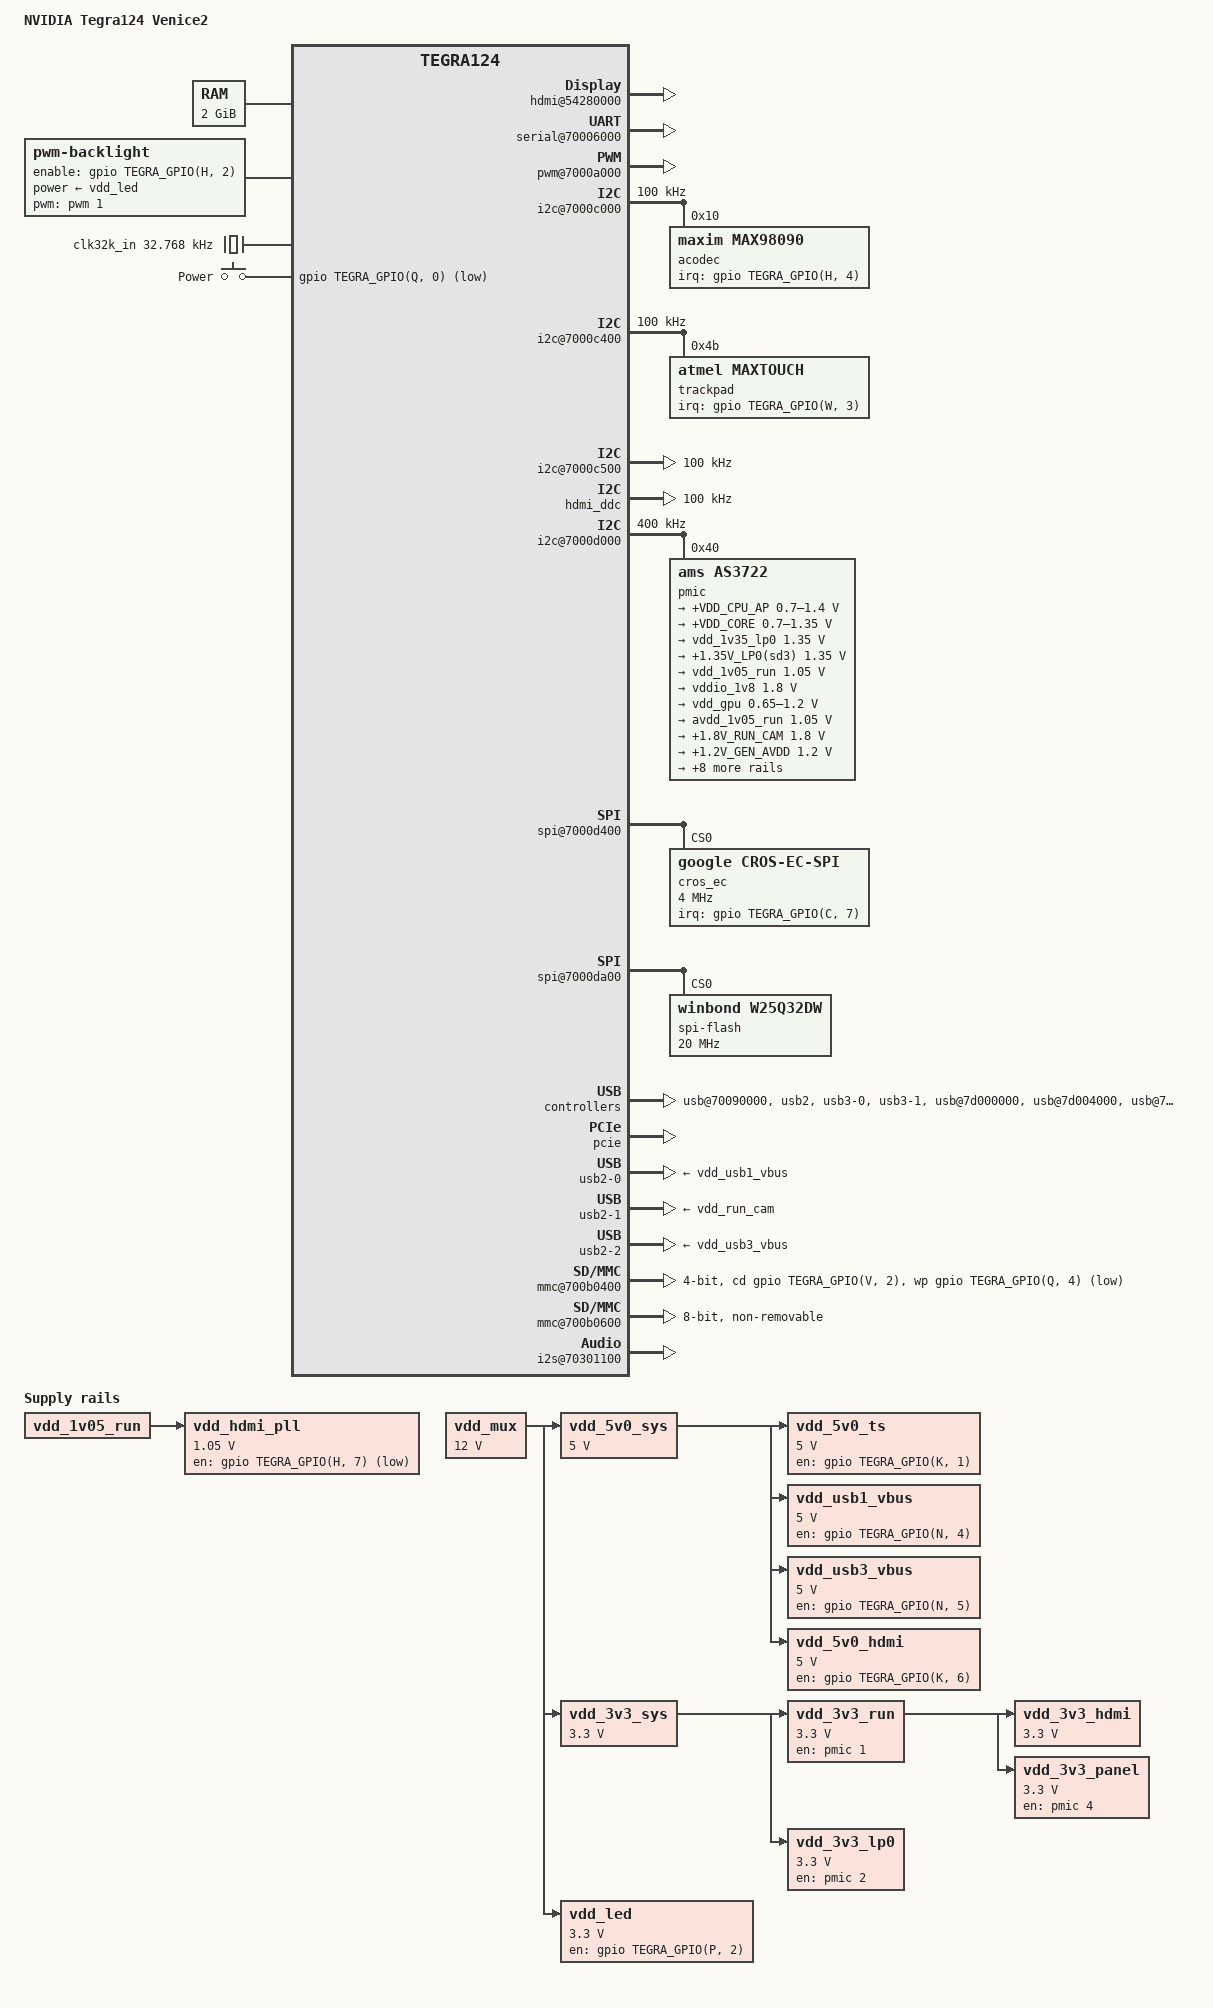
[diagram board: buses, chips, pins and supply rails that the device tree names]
// SPDX-License-Identifier: GPL-2.0
/dts-v1/;

#include <dt-bindings/input/input.h>
#include "tegra124.dtsi"

/ {
	model = "NVIDIA Tegra124 Venice2";
	compatible = "nvidia,venice2", "nvidia,tegra124";

	aliases {
		rtc0 = "/i2c@7000d000/pmic@40";
		rtc1 = "/rtc@7000e000";
		serial0 = &uarta;
	};

	chosen {
		stdout-path = "serial0:115200n8";
	};

	memory@80000000 {
		reg = <0x0 0x80000000 0x0 0x80000000>;
	};

	host1x@50000000 {
		hdmi@54280000 {
			status = "okay";

			vdd-supply = <&vdd_3v3_hdmi>;
			pll-supply = <&vdd_hdmi_pll>;
			hdmi-supply = <&vdd_5v0_hdmi>;

			nvidia,ddc-i2c-bus = <&hdmi_ddc>;
			nvidia,hpd-gpio =
				<&gpio TEGRA_GPIO(N, 7) GPIO_ACTIVE_HIGH>;
		};

		sor@54540000 {
			status = "okay";

			avdd-io-hdmi-dp-supply = <&vdd_1v05_run>;
			vdd-hdmi-dp-pll-supply = <&vdd_3v3_run>;

			nvidia,dpaux = <&dpaux>;
			nvidia,panel = <&panel>;
		};

		dpaux@545c0000 {
			vdd-supply = <&vdd_3v3_panel>;
			status = "okay";

			aux-bus {
				panel: panel {
					compatible = "lg,lp129qe";
					backlight = <&backlight>;
				};
			};
		};
	};

	gpu@0,57000000 {
		/*
		 * Node left disabled on purpose - the bootloader will enable
		 * it after having set the VPR up
		 */
		vdd-supply = <&vdd_gpu>;
	};

	pinmux: pinmux@70000868 {
		pinctrl-names = "boot";
		pinctrl-0 = <&pinmux_boot>;

		pinmux_boot: common {
			dap_mclk1_pw4 {
				nvidia,pins = "dap_mclk1_pw4";
				nvidia,function = "extperiph1";
				nvidia,enable-input = <TEGRA_PIN_DISABLE>;
				nvidia,pull = <TEGRA_PIN_PULL_NONE>;
				nvidia,tristate = <TEGRA_PIN_DISABLE>;
			};
			dap1_din_pn1 {
				nvidia,pins = "dap1_din_pn1";
				nvidia,function = "i2s0";
				nvidia,enable-input = <TEGRA_PIN_ENABLE>;
				nvidia,pull = <TEGRA_PIN_PULL_NONE>;
				nvidia,tristate = <TEGRA_PIN_ENABLE>;
			};
			dap1_dout_pn2 {
				nvidia,pins = "dap1_dout_pn2",
					      "dap1_fs_pn0",
					      "dap1_sclk_pn3";
				nvidia,function = "i2s0";
				nvidia,enable-input = <TEGRA_PIN_DISABLE>;
				nvidia,pull = <TEGRA_PIN_PULL_NONE>;
				nvidia,tristate = <TEGRA_PIN_ENABLE>;
			};
			dap2_din_pa4 {
				nvidia,pins = "dap2_din_pa4";
				nvidia,function = "i2s1";
				nvidia,enable-input = <TEGRA_PIN_ENABLE>;
				nvidia,pull = <TEGRA_PIN_PULL_NONE>;
				nvidia,tristate = <TEGRA_PIN_DISABLE>;
			};
			dap2_dout_pa5 {
				nvidia,pins = "dap2_dout_pa5",
					      "dap2_fs_pa2",
					      "dap2_sclk_pa3";
				nvidia,function = "i2s1";
				nvidia,enable-input = <TEGRA_PIN_DISABLE>;
				nvidia,pull = <TEGRA_PIN_PULL_NONE>;
				nvidia,tristate = <TEGRA_PIN_DISABLE>;
			};
			dvfs_pwm_px0 {
				nvidia,pins = "dvfs_pwm_px0",
					      "dvfs_clk_px2";
				nvidia,function = "cldvfs";
				nvidia,enable-input = <TEGRA_PIN_DISABLE>;
				nvidia,pull = <TEGRA_PIN_PULL_NONE>;
				nvidia,tristate = <TEGRA_PIN_DISABLE>;
			};
			ulpi_clk_py0 {
				nvidia,pins = "ulpi_clk_py0",
					      "ulpi_nxt_py2",
					      "ulpi_stp_py3";
				nvidia,function = "spi1";
				nvidia,enable-input = <TEGRA_PIN_DISABLE>;
				nvidia,pull = <TEGRA_PIN_PULL_NONE>;
				nvidia,tristate = <TEGRA_PIN_DISABLE>;
			};
			ulpi_dir_py1 {
				nvidia,pins = "ulpi_dir_py1";
				nvidia,function = "spi1";
				nvidia,enable-input = <TEGRA_PIN_ENABLE>;
				nvidia,pull = <TEGRA_PIN_PULL_NONE>;
				nvidia,tristate = <TEGRA_PIN_DISABLE>;
			};
			cam_i2c_scl_pbb1 {
				nvidia,pins = "cam_i2c_scl_pbb1",
					      "cam_i2c_sda_pbb2";
				nvidia,function = "i2c3";
				nvidia,enable-input = <TEGRA_PIN_ENABLE>;
				nvidia,pull = <TEGRA_PIN_PULL_NONE>;
				nvidia,tristate = <TEGRA_PIN_DISABLE>;
				nvidia,lock = <TEGRA_PIN_DISABLE>;
				nvidia,open-drain = <TEGRA_PIN_ENABLE>;
			};
			gen2_i2c_scl_pt5 {
				nvidia,pins = "gen2_i2c_scl_pt5",
					      "gen2_i2c_sda_pt6";
				nvidia,function = "i2c2";
				nvidia,enable-input = <TEGRA_PIN_ENABLE>;
				nvidia,pull = <TEGRA_PIN_PULL_NONE>;
				nvidia,tristate = <TEGRA_PIN_DISABLE>;
				nvidia,lock = <TEGRA_PIN_DISABLE>;
				nvidia,open-drain = <TEGRA_PIN_ENABLE>;
			};
			pg4 {
				nvidia,pins = "pg4",
					      "pg5",
					      "pg6",
					      "pi3";
				nvidia,function = "spi4";
				nvidia,enable-input = <TEGRA_PIN_DISABLE>;
				nvidia,pull = <TEGRA_PIN_PULL_NONE>;
				nvidia,tristate = <TEGRA_PIN_DISABLE>;
			};
			pg7 {
				nvidia,pins = "pg7";
				nvidia,function = "spi4";
				nvidia,enable-input = <TEGRA_PIN_ENABLE>;
				nvidia,pull = <TEGRA_PIN_PULL_NONE>;
				nvidia,tristate = <TEGRA_PIN_DISABLE>;
			};
			ph1 {
				nvidia,pins = "ph1";
				nvidia,function = "pwm1";
				nvidia,enable-input = <TEGRA_PIN_DISABLE>;
				nvidia,pull = <TEGRA_PIN_PULL_NONE>;
				nvidia,tristate = <TEGRA_PIN_DISABLE>;
			};
			pk0 {
				nvidia,pins = "pk0",
					      "kb_row15_ps7",
					      "clk_32k_out_pa0";
				nvidia,function = "soc";
				nvidia,pull = <TEGRA_PIN_PULL_UP>;
				nvidia,tristate = <TEGRA_PIN_DISABLE>;
				nvidia,enable-input = <TEGRA_PIN_ENABLE>;
			};
			sdmmc1_clk_pz0 {
				nvidia,pins = "sdmmc1_clk_pz0";
				nvidia,function = "sdmmc1";
				nvidia,enable-input = <TEGRA_PIN_DISABLE>;
				nvidia,pull = <TEGRA_PIN_PULL_NONE>;
				nvidia,tristate = <TEGRA_PIN_DISABLE>;
			};
			sdmmc1_cmd_pz1 {
				nvidia,pins = "sdmmc1_cmd_pz1",
					      "sdmmc1_dat0_py7",
					      "sdmmc1_dat1_py6",
					      "sdmmc1_dat2_py5",
					      "sdmmc1_dat3_py4";
				nvidia,function = "sdmmc1";
				nvidia,enable-input = <TEGRA_PIN_ENABLE>;
				nvidia,pull = <TEGRA_PIN_PULL_UP>;
				nvidia,tristate = <TEGRA_PIN_DISABLE>;
			};
			sdmmc3_clk_pa6 {
				nvidia,pins = "sdmmc3_clk_pa6";
				nvidia,function = "sdmmc3";
				nvidia,enable-input = <TEGRA_PIN_ENABLE>;
				nvidia,pull = <TEGRA_PIN_PULL_NONE>;
				nvidia,tristate = <TEGRA_PIN_DISABLE>;
			};
			sdmmc3_cmd_pa7 {
				nvidia,pins = "sdmmc3_cmd_pa7",
					      "sdmmc3_dat0_pb7",
					      "sdmmc3_dat1_pb6",
					      "sdmmc3_dat2_pb5",
					      "sdmmc3_dat3_pb4",
					      "sdmmc3_clk_lb_out_pee4",
					      "sdmmc3_clk_lb_in_pee5";
				nvidia,function = "sdmmc3";
				nvidia,enable-input = <TEGRA_PIN_ENABLE>;
				nvidia,pull = <TEGRA_PIN_PULL_UP>;
				nvidia,tristate = <TEGRA_PIN_DISABLE>;
			};
			sdmmc4_clk_pcc4 {
				nvidia,pins = "sdmmc4_clk_pcc4";
				nvidia,function = "sdmmc4";
				nvidia,enable-input = <TEGRA_PIN_ENABLE>;
				nvidia,pull = <TEGRA_PIN_PULL_NONE>;
				nvidia,tristate = <TEGRA_PIN_DISABLE>;
			};
			sdmmc4_cmd_pt7 {
				nvidia,pins = "sdmmc4_cmd_pt7",
					      "sdmmc4_dat0_paa0",
					      "sdmmc4_dat1_paa1",
					      "sdmmc4_dat2_paa2",
					      "sdmmc4_dat3_paa3",
					      "sdmmc4_dat4_paa4",
					      "sdmmc4_dat5_paa5",
					      "sdmmc4_dat6_paa6",
					      "sdmmc4_dat7_paa7";
				nvidia,function = "sdmmc4";
				nvidia,enable-input = <TEGRA_PIN_ENABLE>;
				nvidia,pull = <TEGRA_PIN_PULL_UP>;
				nvidia,tristate = <TEGRA_PIN_DISABLE>;
			};
			pwr_i2c_scl_pz6 {
				nvidia,pins = "pwr_i2c_scl_pz6",
					      "pwr_i2c_sda_pz7";
				nvidia,function = "i2cpwr";
				nvidia,enable-input = <TEGRA_PIN_ENABLE>;
				nvidia,pull = <TEGRA_PIN_PULL_NONE>;
				nvidia,tristate = <TEGRA_PIN_DISABLE>;
				nvidia,lock = <TEGRA_PIN_DISABLE>;
				nvidia,open-drain = <TEGRA_PIN_ENABLE>;
			};
			jtag_rtck {
				nvidia,pins = "jtag_rtck";
				nvidia,function = "rtck";
				nvidia,enable-input = <TEGRA_PIN_DISABLE>;
				nvidia,pull = <TEGRA_PIN_PULL_UP>;
				nvidia,tristate = <TEGRA_PIN_DISABLE>;
			};
			clk_32k_in {
				nvidia,pins = "clk_32k_in";
				nvidia,function = "clk";
				nvidia,enable-input = <TEGRA_PIN_ENABLE>;
				nvidia,pull = <TEGRA_PIN_PULL_NONE>;
				nvidia,tristate = <TEGRA_PIN_DISABLE>;
			};
			core_pwr_req {
				nvidia,pins = "core_pwr_req";
				nvidia,function = "pwron";
				nvidia,enable-input = <TEGRA_PIN_DISABLE>;
				nvidia,pull = <TEGRA_PIN_PULL_NONE>;
				nvidia,tristate = <TEGRA_PIN_DISABLE>;
			};
			cpu_pwr_req {
				nvidia,pins = "cpu_pwr_req";
				nvidia,function = "cpu";
				nvidia,enable-input = <TEGRA_PIN_DISABLE>;
				nvidia,pull = <TEGRA_PIN_PULL_NONE>;
				nvidia,tristate = <TEGRA_PIN_DISABLE>;
			};
			pwr_int_n {
				nvidia,pins = "pwr_int_n";
				nvidia,function = "pmi";
				nvidia,enable-input = <TEGRA_PIN_ENABLE>;
				nvidia,pull = <TEGRA_PIN_PULL_UP>;
				nvidia,tristate = <TEGRA_PIN_DISABLE>;
			};
			reset_out_n {
				nvidia,pins = "reset_out_n";
				nvidia,function = "reset_out_n";
				nvidia,enable-input = <TEGRA_PIN_DISABLE>;
				nvidia,pull = <TEGRA_PIN_PULL_NONE>;
				nvidia,tristate = <TEGRA_PIN_DISABLE>;
			};
			clk3_out_pee0 {
				nvidia,pins = "clk3_out_pee0";
				nvidia,function = "extperiph3";
				nvidia,enable-input = <TEGRA_PIN_DISABLE>;
				nvidia,pull = <TEGRA_PIN_PULL_NONE>;
				nvidia,tristate = <TEGRA_PIN_DISABLE>;
			};
			dap4_din_pp5 {
				nvidia,pins = "dap4_din_pp5";
				nvidia,function = "i2s3";
				nvidia,enable-input = <TEGRA_PIN_ENABLE>;
				nvidia,pull = <TEGRA_PIN_PULL_NONE>;
				nvidia,tristate = <TEGRA_PIN_ENABLE>;
			};
			dap4_dout_pp6 {
				nvidia,pins = "dap4_dout_pp6",
					      "dap4_fs_pp4",
					      "dap4_sclk_pp7";
				nvidia,function = "i2s3";
				nvidia,enable-input = <TEGRA_PIN_DISABLE>;
				nvidia,pull = <TEGRA_PIN_PULL_NONE>;
				nvidia,tristate = <TEGRA_PIN_ENABLE>;
			};
			gen1_i2c_sda_pc5 {
				nvidia,pins = "gen1_i2c_sda_pc5",
					      "gen1_i2c_scl_pc4";
				nvidia,function = "i2c1";
				nvidia,enable-input = <TEGRA_PIN_ENABLE>;
				nvidia,pull = <TEGRA_PIN_PULL_NONE>;
				nvidia,tristate = <TEGRA_PIN_DISABLE>;
				nvidia,lock = <TEGRA_PIN_DISABLE>;
				nvidia,open-drain = <TEGRA_PIN_ENABLE>;
			};
			uart2_cts_n_pj5 {
				nvidia,pins = "uart2_cts_n_pj5";
				nvidia,function = "uartb";
				nvidia,enable-input = <TEGRA_PIN_ENABLE>;
				nvidia,pull = <TEGRA_PIN_PULL_NONE>;
				nvidia,tristate = <TEGRA_PIN_DISABLE>;
			};
			uart2_rts_n_pj6 {
				nvidia,pins = "uart2_rts_n_pj6";
				nvidia,function = "uartb";
				nvidia,enable-input = <TEGRA_PIN_DISABLE>;
				nvidia,pull = <TEGRA_PIN_PULL_NONE>;
				nvidia,tristate = <TEGRA_PIN_DISABLE>;
			};
			uart2_rxd_pc3 {
				nvidia,pins = "uart2_rxd_pc3";
				nvidia,function = "irda";
				nvidia,enable-input = <TEGRA_PIN_ENABLE>;
				nvidia,pull = <TEGRA_PIN_PULL_NONE>;
				nvidia,tristate = <TEGRA_PIN_DISABLE>;
			};
			uart2_txd_pc2 {
				nvidia,pins = "uart2_txd_pc2";
				nvidia,function = "irda";
				nvidia,enable-input = <TEGRA_PIN_DISABLE>;
				nvidia,pull = <TEGRA_PIN_PULL_NONE>;
				nvidia,tristate = <TEGRA_PIN_DISABLE>;
			};
			uart3_cts_n_pa1 {
				nvidia,pins = "uart3_cts_n_pa1",
					      "uart3_rxd_pw7";
				nvidia,function = "uartc";
				nvidia,enable-input = <TEGRA_PIN_ENABLE>;
				nvidia,pull = <TEGRA_PIN_PULL_NONE>;
				nvidia,tristate = <TEGRA_PIN_DISABLE>;
			};
			uart3_rts_n_pc0 {
				nvidia,pins = "uart3_rts_n_pc0",
					      "uart3_txd_pw6";
				nvidia,function = "uartc";
				nvidia,enable-input = <TEGRA_PIN_DISABLE>;
				nvidia,pull = <TEGRA_PIN_PULL_NONE>;
				nvidia,tristate = <TEGRA_PIN_DISABLE>;
			};
			hdmi_cec_pee3 {
				nvidia,pins = "hdmi_cec_pee3";
				nvidia,function = "cec";
				nvidia,enable-input = <TEGRA_PIN_ENABLE>;
				nvidia,pull = <TEGRA_PIN_PULL_NONE>;
				nvidia,tristate = <TEGRA_PIN_DISABLE>;
				nvidia,lock = <TEGRA_PIN_DISABLE>;
				nvidia,open-drain = <TEGRA_PIN_DISABLE>;
			};
			hdmi_int_pn7 {
				nvidia,pins = "hdmi_int_pn7";
				nvidia,function = "rsvd1";
				nvidia,enable-input = <TEGRA_PIN_ENABLE>;
				nvidia,pull = <TEGRA_PIN_PULL_DOWN>;
				nvidia,tristate = <TEGRA_PIN_DISABLE>;
			};
			ddc_scl_pv4 {
				nvidia,pins = "ddc_scl_pv4",
					      "ddc_sda_pv5";
				nvidia,function = "i2c4";
				nvidia,enable-input = <TEGRA_PIN_ENABLE>;
				nvidia,pull = <TEGRA_PIN_PULL_NONE>;
				nvidia,tristate = <TEGRA_PIN_DISABLE>;
				nvidia,lock = <TEGRA_PIN_DISABLE>;
				nvidia,rcv-sel = <TEGRA_PIN_ENABLE>;
			};
			pj7 {
				nvidia,pins = "pj7",
					      "pk7";
				nvidia,function = "uartd";
				nvidia,pull = <TEGRA_PIN_PULL_NONE>;
				nvidia,tristate = <TEGRA_PIN_DISABLE>;
				nvidia,enable-input = <TEGRA_PIN_DISABLE>;
			};
			pb0 {
				nvidia,pins = "pb0",
					      "pb1";
				nvidia,function = "uartd";
				nvidia,pull = <TEGRA_PIN_PULL_UP>;
				nvidia,tristate = <TEGRA_PIN_DISABLE>;
				nvidia,enable-input = <TEGRA_PIN_ENABLE>;
			};
			ph0 {
				nvidia,pins = "ph0";
				nvidia,function = "pwm0";
				nvidia,pull = <TEGRA_PIN_PULL_NONE>;
				nvidia,tristate = <TEGRA_PIN_DISABLE>;
				nvidia,enable-input = <TEGRA_PIN_DISABLE>;
			};
			kb_row10_ps2 {
				nvidia,pins = "kb_row10_ps2";
				nvidia,function = "uarta";
				nvidia,pull = <TEGRA_PIN_PULL_UP>;
				nvidia,tristate = <TEGRA_PIN_DISABLE>;
				nvidia,enable-input = <TEGRA_PIN_ENABLE>;
			};
			kb_row9_ps1 {
				nvidia,pins = "kb_row9_ps1";
				nvidia,function = "uarta";
				nvidia,pull = <TEGRA_PIN_PULL_NONE>;
				nvidia,tristate = <TEGRA_PIN_DISABLE>;
				nvidia,enable-input = <TEGRA_PIN_DISABLE>;
			};
			kb_row6_pr6 {
				nvidia,pins = "kb_row6_pr6";
				nvidia,function = "displaya_alt";
				nvidia,pull = <TEGRA_PIN_PULL_DOWN>;
				nvidia,tristate = <TEGRA_PIN_DISABLE>;
				nvidia,enable-input = <TEGRA_PIN_ENABLE>;
			};
			usb_vbus_en0_pn4 {
				nvidia,pins = "usb_vbus_en0_pn4",
					      "usb_vbus_en1_pn5";
				nvidia,function = "usb";
				nvidia,enable-input = <TEGRA_PIN_ENABLE>;
				nvidia,pull = <TEGRA_PIN_PULL_NONE>;
				nvidia,tristate = <TEGRA_PIN_DISABLE>;
				nvidia,lock = <TEGRA_PIN_DISABLE>;
				nvidia,open-drain = <TEGRA_PIN_ENABLE>;
			};
			drive_sdio1 {
				nvidia,pins = "drive_sdio1";
				nvidia,high-speed-mode = <TEGRA_PIN_ENABLE>;
				nvidia,schmitt = <TEGRA_PIN_DISABLE>;
				nvidia,pull-down-strength = <32>;
				nvidia,pull-up-strength = <42>;
				nvidia,slew-rate-rising = <TEGRA_PIN_SLEW_RATE_FASTEST>;
				nvidia,slew-rate-falling = <TEGRA_PIN_SLEW_RATE_FASTEST>;
			};
			drive_sdio3 {
				nvidia,pins = "drive_sdio3";
				nvidia,high-speed-mode = <TEGRA_PIN_ENABLE>;
				nvidia,schmitt = <TEGRA_PIN_DISABLE>;
				nvidia,pull-down-strength = <20>;
				nvidia,pull-up-strength = <36>;
				nvidia,slew-rate-rising = <TEGRA_PIN_SLEW_RATE_FASTEST>;
				nvidia,slew-rate-falling = <TEGRA_PIN_SLEW_RATE_FASTEST>;
			};
			drive_gma {
				nvidia,pins = "drive_gma";
				nvidia,high-speed-mode = <TEGRA_PIN_ENABLE>;
				nvidia,schmitt = <TEGRA_PIN_DISABLE>;
				nvidia,low-power-mode = <TEGRA_PIN_LP_DRIVE_DIV_1>;
				nvidia,pull-down-strength = <1>;
				nvidia,pull-up-strength = <2>;
				nvidia,slew-rate-rising = <TEGRA_PIN_SLEW_RATE_FASTEST>;
				nvidia,slew-rate-falling = <TEGRA_PIN_SLEW_RATE_FASTEST>;
				nvidia,drive-type = <1>;
			};
			als_irq_l {
				nvidia,pins = "gpio_x3_aud_px3";
				nvidia,function = "gmi";
				nvidia,pull = <TEGRA_PIN_PULL_NONE>;
				nvidia,tristate = <TEGRA_PIN_ENABLE>;
				nvidia,enable-input = <TEGRA_PIN_ENABLE>;
			};
			codec_irq_l {
				nvidia,pins = "ph4";
				nvidia,function = "gmi";
				nvidia,pull = <TEGRA_PIN_PULL_NONE>;
				nvidia,tristate = <TEGRA_PIN_DISABLE>;
				nvidia,enable-input = <TEGRA_PIN_ENABLE>;
			};
			lcd_bl_en {
				nvidia,pins = "ph2";
				nvidia,function = "gmi";
				nvidia,pull = <TEGRA_PIN_PULL_DOWN>;
				nvidia,tristate = <TEGRA_PIN_DISABLE>;
				nvidia,enable-input = <TEGRA_PIN_DISABLE>;
			};
			touch_irq_l {
				nvidia,pins = "gpio_w3_aud_pw3";
				nvidia,function = "spi6";
				nvidia,pull = <TEGRA_PIN_PULL_NONE>;
				nvidia,tristate = <TEGRA_PIN_ENABLE>;
				nvidia,enable-input = <TEGRA_PIN_ENABLE>;
			};
			tpm_davint_l {
				nvidia,pins = "ph6";
				nvidia,function = "gmi";
				nvidia,pull = <TEGRA_PIN_PULL_NONE>;
				nvidia,tristate = <TEGRA_PIN_ENABLE>;
				nvidia,enable-input = <TEGRA_PIN_ENABLE>;
			};
			ts_irq_l {
				nvidia,pins = "pk2";
				nvidia,function = "gmi";
				nvidia,pull = <TEGRA_PIN_PULL_NONE>;
				nvidia,tristate = <TEGRA_PIN_ENABLE>;
				nvidia,enable-input = <TEGRA_PIN_ENABLE>;
			};
			ts_reset_l {
				nvidia,pins = "pk4";
				nvidia,function = "gmi";
				nvidia,pull = <TEGRA_PIN_PULL_DOWN>;
				nvidia,tristate = <TEGRA_PIN_DISABLE>;
				nvidia,enable-input = <TEGRA_PIN_DISABLE>;
			};
			ts_shdn_l {
				nvidia,pins = "pk1";
				nvidia,function = "gmi";
				nvidia,pull = <TEGRA_PIN_PULL_UP>;
				nvidia,tristate = <TEGRA_PIN_DISABLE>;
				nvidia,enable-input = <TEGRA_PIN_DISABLE>;
			};
			ph7 {
				nvidia,pins = "ph7";
				nvidia,function = "gmi";
				nvidia,pull = <TEGRA_PIN_PULL_NONE>;
				nvidia,tristate = <TEGRA_PIN_DISABLE>;
				nvidia,enable-input = <TEGRA_PIN_ENABLE>;
			};
			kb_col0_ap {
				nvidia,pins = "kb_col0_pq0";
				nvidia,function = "rsvd4";
				nvidia,pull = <TEGRA_PIN_PULL_UP>;
				nvidia,tristate = <TEGRA_PIN_DISABLE>;
				nvidia,enable-input = <TEGRA_PIN_ENABLE>;
			};
			lid_open {
				nvidia,pins = "kb_row4_pr4";
				nvidia,function = "rsvd3";
				nvidia,pull = <TEGRA_PIN_PULL_UP>;
				nvidia,tristate = <TEGRA_PIN_DISABLE>;
				nvidia,enable-input = <TEGRA_PIN_ENABLE>;
			};
			en_vdd_sd {
				nvidia,pins = "kb_row0_pr0";
				nvidia,function = "rsvd4";
				nvidia,pull = <TEGRA_PIN_PULL_NONE>;
				nvidia,tristate = <TEGRA_PIN_DISABLE>;
				nvidia,enable-input = <TEGRA_PIN_DISABLE>;
			};
			ac_ok {
				nvidia,pins = "pj0";
				nvidia,function = "gmi";
				nvidia,pull = <TEGRA_PIN_PULL_UP>;
				nvidia,tristate = <TEGRA_PIN_ENABLE>;
				nvidia,enable-input = <TEGRA_PIN_ENABLE>;
			};
			sensor_irq_l {
				nvidia,pins = "pi6";
				nvidia,function = "gmi";
				nvidia,pull = <TEGRA_PIN_PULL_NONE>;
				nvidia,tristate = <TEGRA_PIN_DISABLE>;
				nvidia,enable-input = <TEGRA_PIN_ENABLE>;
			};
			wifi_en {
				nvidia,pins = "gpio_x7_aud_px7";
				nvidia,function = "rsvd4";
				nvidia,pull = <TEGRA_PIN_PULL_NONE>;
				nvidia,tristate = <TEGRA_PIN_DISABLE>;
				nvidia,enable-input = <TEGRA_PIN_DISABLE>;
			};
			wifi_rst_l {
				nvidia,pins = "clk2_req_pcc5";
				nvidia,function = "dap";
				nvidia,pull = <TEGRA_PIN_PULL_NONE>;
				nvidia,tristate = <TEGRA_PIN_DISABLE>;
				nvidia,enable-input = <TEGRA_PIN_ENABLE>;
			};
			hp_det_l {
				nvidia,pins = "ulpi_data1_po2";
				nvidia,function = "spi3";
				nvidia,pull = <TEGRA_PIN_PULL_NONE>;
				nvidia,tristate = <TEGRA_PIN_DISABLE>;
				nvidia,enable-input = <TEGRA_PIN_ENABLE>;
			};
		};
	};

	serial@70006000 {
		status = "okay";
	};

	pwm@7000a000 {
		status = "okay";
	};

	i2c@7000c000 {
		status = "okay";
		clock-frequency = <100000>;

		acodec: audio-codec@10 {
			compatible = "maxim,max98090";
			reg = <0x10>;
			interrupt-parent = <&gpio>;
			interrupts = <TEGRA_GPIO(H, 4) IRQ_TYPE_EDGE_FALLING>;
		};
	};

	i2c@7000c400 {
		status = "okay";
		clock-frequency = <100000>;

		trackpad@4b {
			compatible = "atmel,maxtouch";
			reg = <0x4b>;
			interrupt-parent = <&gpio>;
			interrupts = <TEGRA_GPIO(W, 3) IRQ_TYPE_LEVEL_LOW>;
			linux,gpio-keymap = <0 0 0 BTN_LEFT>;
		};
	};

	i2c@7000c500 {
		status = "okay";
		clock-frequency = <100000>;
	};

	hdmi_ddc: i2c@7000c700 {
		status = "okay";
		clock-frequency = <100000>;
	};

	i2c@7000d000 {
		status = "okay";
		clock-frequency = <400000>;

		pmic: pmic@40 {
			compatible = "ams,as3722";
			reg = <0x40>;
			interrupts = <0 86 IRQ_TYPE_LEVEL_HIGH>;

			ams,system-power-controller;

			#interrupt-cells = <2>;
			interrupt-controller;

			gpio-controller;
			#gpio-cells = <2>;

			pinctrl-names = "default";
			pinctrl-0 = <&as3722_default>;

			as3722_default: pinmux {
				gpio0 {
					pins = "gpio0";
					function = "gpio";
					bias-pull-down;
				};

				gpio1_2_4_7 {
					pins = "gpio1", "gpio2", "gpio4", "gpio7";
					function = "gpio";
					bias-pull-up;
				};

				gpio3_6 {
					pins = "gpio3", "gpio6";
					bias-high-impedance;
				};

				gpio5 {
					pins = "gpio5";
					function = "clk32k-out";
				};
			};

			regulators {
				vsup-sd2-supply = <&vdd_5v0_sys>;
				vsup-sd3-supply = <&vdd_5v0_sys>;
				vsup-sd4-supply = <&vdd_5v0_sys>;
				vsup-sd5-supply = <&vdd_5v0_sys>;
				vin-ldo0-supply = <&vdd_1v35_lp0>;
				vin-ldo1-6-supply = <&vdd_3v3_run>;
				vin-ldo2-5-7-supply = <&vddio_1v8>;
				vin-ldo3-4-supply = <&vdd_3v3_sys>;
				vin-ldo9-10-supply = <&vdd_5v0_sys>;
				vin-ldo11-supply = <&vdd_3v3_run>;

				sd0 {
					regulator-name = "+VDD_CPU_AP";
					regulator-min-microvolt = <700000>;
					regulator-max-microvolt = <1400000>;
					regulator-min-microamp = <3500000>;
					regulator-max-microamp = <3500000>;
					regulator-always-on;
					regulator-boot-on;
					ams,ext-control = <2>;
				};

				sd1 {
					regulator-name = "+VDD_CORE";
					regulator-min-microvolt = <700000>;
					regulator-max-microvolt = <1350000>;
					regulator-min-microamp = <2500000>;
					regulator-max-microamp = <2500000>;
					regulator-always-on;
					regulator-boot-on;
					ams,ext-control = <1>;
				};

				vdd_1v35_lp0: sd2 {
					regulator-name = "+1.35V_LP0(sd2)";
					regulator-min-microvolt = <1350000>;
					regulator-max-microvolt = <1350000>;
					regulator-always-on;
					regulator-boot-on;
				};

				sd3 {
					regulator-name = "+1.35V_LP0(sd3)";
					regulator-min-microvolt = <1350000>;
					regulator-max-microvolt = <1350000>;
					regulator-always-on;
					regulator-boot-on;
				};

				vdd_1v05_run: sd4 {
					regulator-name = "+1.05V_RUN";
					regulator-min-microvolt = <1050000>;
					regulator-max-microvolt = <1050000>;
				};

				vddio_1v8: sd5 {
					regulator-name = "+1.8V_VDDIO";
					regulator-min-microvolt = <1800000>;
					regulator-max-microvolt = <1800000>;
					regulator-boot-on;
					regulator-always-on;
				};

				vdd_gpu: sd6 {
					regulator-name = "+VDD_GPU_AP";
					regulator-min-microvolt = <650000>;
					regulator-max-microvolt = <1200000>;
					regulator-min-microamp = <3500000>;
					regulator-max-microamp = <3500000>;
					regulator-boot-on;
					regulator-always-on;
				};

				avdd_1v05_run: ldo0 {
					regulator-name = "+1.05V_RUN_AVDD";
					regulator-min-microvolt = <1050000>;
					regulator-max-microvolt = <1050000>;
					regulator-boot-on;
					regulator-always-on;
					ams,ext-control = <1>;
				};

				ldo1 {
					regulator-name = "+1.8V_RUN_CAM";
					regulator-min-microvolt = <1800000>;
					regulator-max-microvolt = <1800000>;
				};

				ldo2 {
					regulator-name = "+1.2V_GEN_AVDD";
					regulator-min-microvolt = <1200000>;
					regulator-max-microvolt = <1200000>;
					regulator-boot-on;
					regulator-always-on;
				};

				ldo3 {
					regulator-name = "+1.00V_LP0_VDD_RTC";
					regulator-min-microvolt = <1000000>;
					regulator-max-microvolt = <1000000>;
					regulator-boot-on;
					regulator-always-on;
					ams,enable-tracking;
				};

				vdd_run_cam: ldo4 {
					regulator-name = "+3.3V_RUN_CAM";
					regulator-min-microvolt = <2800000>;
					regulator-max-microvolt = <2800000>;
				};

				ldo5 {
					regulator-name = "+1.2V_RUN_CAM_FRONT";
					regulator-min-microvolt = <1200000>;
					regulator-max-microvolt = <1200000>;
				};

				vddio_sdmmc3: ldo6 {
					regulator-name = "+VDDIO_SDMMC3";
					regulator-min-microvolt = <1800000>;
					regulator-max-microvolt = <3300000>;
				};

				ldo7 {
					regulator-name = "+1.05V_RUN_CAM_REAR";
					regulator-min-microvolt = <1050000>;
					regulator-max-microvolt = <1050000>;
				};

				ldo9 {
					regulator-name = "+2.8V_RUN_TOUCH";
					regulator-min-microvolt = <2800000>;
					regulator-max-microvolt = <2800000>;
				};

				ldo10 {
					regulator-name = "+2.8V_RUN_CAM_AF";
					regulator-min-microvolt = <2800000>;
					regulator-max-microvolt = <2800000>;
				};

				ldo11 {
					regulator-name = "+1.8V_RUN_VPP_FUSE";
					regulator-min-microvolt = <1800000>;
					regulator-max-microvolt = <1800000>;
				};
			};
		};
	};

	spi@7000d400 {
		status = "okay";

		cros_ec: cros-ec@0 {
			compatible = "google,cros-ec-spi";
			spi-max-frequency = <4000000>;
			interrupt-parent = <&gpio>;
			interrupts = <TEGRA_GPIO(C, 7) IRQ_TYPE_LEVEL_LOW>;
			reg = <0>;

			google,cros-ec-spi-msg-delay = <2000>;

			i2c-tunnel {
				compatible = "google,cros-ec-i2c-tunnel";
				#address-cells = <1>;
				#size-cells = <0>;

				google,remote-bus = <0>;

				charger: bq24735@9 {
					compatible = "ti,bq24735";
					reg = <0x9>;
					interrupt-parent = <&gpio>;
					interrupts = <TEGRA_GPIO(J, 0)
							IRQ_TYPE_EDGE_BOTH>;
					ti,ac-detect-gpios = <&gpio
							TEGRA_GPIO(J, 0)
							GPIO_ACTIVE_HIGH>;
				};

				battery: sbs-battery@b {
					compatible = "sbs,sbs-battery";
					reg = <0xb>;
					sbs,i2c-retry-count = <2>;
					sbs,poll-retry-count = <1>;
				};
			};
		};
	};

	spi@7000da00 {
		status = "okay";
		spi-max-frequency = <25000000>;
		spi-flash@0 {
			compatible = "winbond,w25q32dw", "jedec,spi-nor";
			reg = <0>;
			spi-max-frequency = <20000000>;
		};
	};

	pmc@7000e400 {
		nvidia,invert-interrupt;
		nvidia,suspend-mode = <1>;
		nvidia,cpu-pwr-good-time = <500>;
		nvidia,cpu-pwr-off-time = <300>;
		nvidia,core-pwr-good-time = <641 3845>;
		nvidia,core-pwr-off-time = <61036>;
		nvidia,core-power-req-active-high;
		nvidia,sys-clock-req-active-high;
	};

	hda@70030000 {
		status = "okay";
	};

	usb@70090000 {
		phys = <&{/padctl@7009f000/pads/usb2/lanes/usb2-0}>, /* 1st USB A */
		       <&{/padctl@7009f000/pads/usb2/lanes/usb2-1}>, /* Internal USB */
		       <&{/padctl@7009f000/pads/usb2/lanes/usb2-2}>, /* 2nd USB A */
		       <&{/padctl@7009f000/pads/pcie/lanes/pcie-0}>, /* 1st USB A */
		       <&{/padctl@7009f000/pads/pcie/lanes/pcie-1}>; /* 2nd USB A */
		phy-names = "usb2-0", "usb2-1", "usb2-2", "usb3-0", "usb3-1";

		avddio-pex-supply = <&vdd_1v05_run>;
		dvddio-pex-supply = <&vdd_1v05_run>;
		avdd-usb-supply = <&vdd_3v3_lp0>;
		avdd-pll-utmip-supply = <&vddio_1v8>;
		avdd-pll-erefe-supply = <&avdd_1v05_run>;
		avdd-usb-ss-pll-supply = <&vdd_1v05_run>;
		hvdd-usb-ss-supply = <&vdd_3v3_lp0>;
		hvdd-usb-ss-pll-e-supply = <&vdd_3v3_lp0>;

		status = "okay";
	};

	padctl@7009f000 {
		avdd-pll-utmip-supply = <&vddio_1v8>;
		avdd-pll-erefe-supply = <&avdd_1v05_run>;
		avdd-pex-pll-supply = <&vdd_1v05_run>;
		hvdd-pex-pll-e-supply = <&vdd_3v3_lp0>;

		pads {
			usb2 {
				status = "okay";

				lanes {
					usb2-0 {
						nvidia,function = "xusb";
						status = "okay";
					};

					usb2-1 {
						nvidia,function = "xusb";
						status = "okay";
					};

					usb2-2 {
						nvidia,function = "xusb";
						status = "okay";
					};
				};
			};

			pcie {
				status = "okay";

				lanes {
					pcie-0 {
						nvidia,function = "usb3-ss";
						status = "okay";
					};

					pcie-1 {
						nvidia,function = "usb3-ss";
						status = "okay";
					};
				};
			};
		};

		ports {
			usb2-0 {
				status = "okay";
				mode = "otg";

				vbus-supply = <&vdd_usb1_vbus>;
			};

			usb2-1 {
				status = "okay";
				mode = "host";

				vbus-supply = <&vdd_run_cam>;
			};

			usb2-2 {
				status = "okay";
				mode = "host";

				vbus-supply = <&vdd_usb3_vbus>;
			};

			usb3-0 {
				nvidia,usb2-companion = <0>;
				status = "okay";
			};

			usb3-1 {
				nvidia,usb2-companion = <2>;
				status = "okay";
			};
		};
	};

	mmc@700b0400 {
		cd-gpios = <&gpio TEGRA_GPIO(V, 2) GPIO_ACTIVE_HIGH>;
		power-gpios = <&gpio TEGRA_GPIO(R, 0) GPIO_ACTIVE_HIGH>;
		wp-gpios = <&gpio TEGRA_GPIO(Q, 4) GPIO_ACTIVE_LOW>;
		status = "okay";
		bus-width = <4>;
		vqmmc-supply = <&vddio_sdmmc3>;
	};

	mmc@700b0600 {
		status = "okay";
		bus-width = <8>;
		non-removable;
	};

	ahub@70300000 {
		i2s@70301100 {
			status = "okay";
		};
	};

	usb@7d000000 {
		status = "okay";
	};

	usb-phy@7d000000 {
		status = "okay";
		vbus-supply = <&vdd_usb1_vbus>;
	};

	usb@7d004000 {
		status = "okay";
	};

	usb-phy@7d004000 {
		status = "okay";
		vbus-supply = <&vdd_run_cam>;
	};

	usb@7d008000 {
		status = "okay";
	};

	usb-phy@7d008000 {
		status = "okay";
		vbus-supply = <&vdd_usb3_vbus>;
	};

	backlight: backlight {
		compatible = "pwm-backlight";

		enable-gpios = <&gpio TEGRA_GPIO(H, 2) GPIO_ACTIVE_HIGH>;
		power-supply = <&vdd_led>;
		pwms = <&pwm 1 1000000>;

		brightness-levels = <0 4 8 16 32 64 128 255>;
		default-brightness-level = <6>;
	};

	clk32k_in: clock@0 {
		compatible = "fixed-clock";
		clock-frequency = <32768>;
		#clock-cells = <0>;
	};

	gpio-keys {
		compatible = "gpio-keys";

		power {
			label = "Power";
			gpios = <&gpio TEGRA_GPIO(Q, 0) GPIO_ACTIVE_LOW>;
			linux,code = <KEY_POWER>;
			debounce-interval = <10>;
			wakeup-source;
		};
	};

	vdd_mux: regulator@0 {
		compatible = "regulator-fixed";
		regulator-name = "+VDD_MUX";
		regulator-min-microvolt = <12000000>;
		regulator-max-microvolt = <12000000>;
		regulator-always-on;
		regulator-boot-on;
	};

	vdd_5v0_sys: regulator@1 {
		compatible = "regulator-fixed";
		regulator-name = "+5V_SYS";
		regulator-min-microvolt = <5000000>;
		regulator-max-microvolt = <5000000>;
		regulator-always-on;
		regulator-boot-on;
		vin-supply = <&vdd_mux>;
	};

	vdd_3v3_sys: regulator@2 {
		compatible = "regulator-fixed";
		regulator-name = "+3.3V_SYS";
		regulator-min-microvolt = <3300000>;
		regulator-max-microvolt = <3300000>;
		regulator-always-on;
		regulator-boot-on;
		vin-supply = <&vdd_mux>;
	};

	vdd_3v3_run: regulator@3 {
		compatible = "regulator-fixed";
		regulator-name = "+3.3V_RUN";
		regulator-min-microvolt = <3300000>;
		regulator-max-microvolt = <3300000>;
		regulator-always-on;
		regulator-boot-on;
		gpio = <&pmic 1 GPIO_ACTIVE_HIGH>;
		enable-active-high;
		vin-supply = <&vdd_3v3_sys>;
	};

	vdd_3v3_hdmi: regulator@4 {
		compatible = "regulator-fixed";
		regulator-name = "+3.3V_AVDD_HDMI_AP_GATED";
		regulator-min-microvolt = <3300000>;
		regulator-max-microvolt = <3300000>;
		vin-supply = <&vdd_3v3_run>;
	};

	vdd_led: regulator@5 {
		compatible = "regulator-fixed";
		regulator-name = "+VDD_LED";
		regulator-min-microvolt = <3300000>;
		regulator-max-microvolt = <3300000>;
		gpio = <&gpio TEGRA_GPIO(P, 2) GPIO_ACTIVE_HIGH>;
		enable-active-high;
		vin-supply = <&vdd_mux>;
	};

	vdd_5v0_ts: regulator@6 {
		compatible = "regulator-fixed";
		regulator-name = "+5V_VDD_TS_SW";
		regulator-min-microvolt = <5000000>;
		regulator-max-microvolt = <5000000>;
		regulator-boot-on;
		gpio = <&gpio TEGRA_GPIO(K, 1) GPIO_ACTIVE_HIGH>;
		enable-active-high;
		vin-supply = <&vdd_5v0_sys>;
	};

	vdd_usb1_vbus: regulator@7 {
		compatible = "regulator-fixed";
		regulator-name = "+5V_USB_HS";
		regulator-min-microvolt = <5000000>;
		regulator-max-microvolt = <5000000>;
		gpio = <&gpio TEGRA_GPIO(N, 4) GPIO_ACTIVE_HIGH>;
		enable-active-high;
		gpio-open-drain;
		vin-supply = <&vdd_5v0_sys>;
	};

	vdd_usb3_vbus: regulator@8 {
		compatible = "regulator-fixed";
		regulator-name = "+5V_USB_SS";
		regulator-min-microvolt = <5000000>;
		regulator-max-microvolt = <5000000>;
		gpio = <&gpio TEGRA_GPIO(N, 5) GPIO_ACTIVE_HIGH>;
		enable-active-high;
		gpio-open-drain;
		vin-supply = <&vdd_5v0_sys>;
	};

	vdd_3v3_panel: regulator@9 {
		compatible = "regulator-fixed";
		regulator-name = "+3.3V_PANEL";
		regulator-min-microvolt = <3300000>;
		regulator-max-microvolt = <3300000>;
		gpio = <&pmic 4 GPIO_ACTIVE_HIGH>;
		enable-active-high;
		vin-supply = <&vdd_3v3_run>;
	};

	vdd_3v3_lp0: regulator@10 {
		compatible = "regulator-fixed";
		regulator-name = "+3.3V_LP0";
		regulator-min-microvolt = <3300000>;
		regulator-max-microvolt = <3300000>;
		/*
		 * TODO: find a way to wire this up with the USB EHCI
		 * controllers so that it can be enabled on demand.
		 */
		regulator-always-on;
		gpio = <&pmic 2 GPIO_ACTIVE_HIGH>;
		enable-active-high;
		vin-supply = <&vdd_3v3_sys>;
	};

	vdd_hdmi_pll: regulator@11 {
		compatible = "regulator-fixed";
		regulator-name = "+1.05V_RUN_AVDD_HDMI_PLL";
		regulator-min-microvolt = <1050000>;
		regulator-max-microvolt = <1050000>;
		gpio = <&gpio TEGRA_GPIO(H, 7) GPIO_ACTIVE_LOW>;
		vin-supply = <&vdd_1v05_run>;
	};

	vdd_5v0_hdmi: regulator@12 {
		compatible = "regulator-fixed";
		regulator-name = "+5V_HDMI_CON";
		regulator-min-microvolt = <5000000>;
		regulator-max-microvolt = <5000000>;
		gpio = <&gpio TEGRA_GPIO(K, 6) GPIO_ACTIVE_HIGH>;
		enable-active-high;
		vin-supply = <&vdd_5v0_sys>;
	};

	sound {
		compatible = "nvidia,tegra-audio-max98090-venice2",
			     "nvidia,tegra-audio-max98090";
		nvidia,model = "NVIDIA Tegra Venice2";

		nvidia,audio-routing =
			"Headphones", "HPR",
			"Headphones", "HPL",
			"Speakers", "SPKR",
			"Speakers", "SPKL",
			"Mic Jack", "MICBIAS",
			"IN34", "Mic Jack";

		nvidia,i2s-controller = <&tegra_i2s1>;
		nvidia,audio-codec = <&acodec>;

		clocks = <&tegra_car TEGRA124_CLK_PLL_A>,
			 <&tegra_car TEGRA124_CLK_PLL_A_OUT0>,
			 <&tegra_pmc TEGRA_PMC_CLK_OUT_1>;
		clock-names = "pll_a", "pll_a_out0", "mclk";

		assigned-clocks = <&tegra_car TEGRA124_CLK_EXTERN1>,
				  <&tegra_pmc TEGRA_PMC_CLK_OUT_1>;

		assigned-clock-parents = <&tegra_car TEGRA124_CLK_PLL_A_OUT0>,
					 <&tegra_car TEGRA124_CLK_EXTERN1>;
	};
};

#include "cros-ec-keyboard.dtsi"
